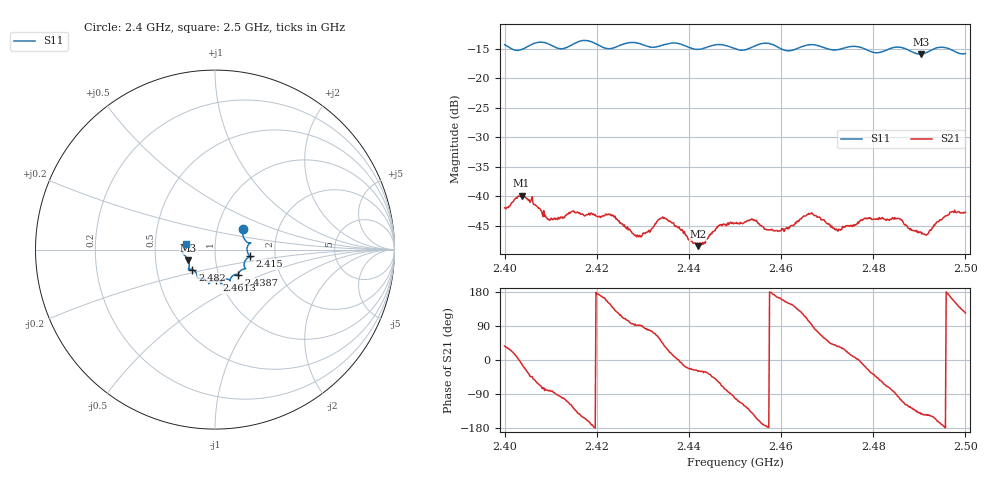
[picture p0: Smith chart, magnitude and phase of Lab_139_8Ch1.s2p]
# Hz S RI R 50
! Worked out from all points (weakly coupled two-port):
!   601 points, 2.4 GHz to 2.5 GHz, reference 50 ohm
!   highest |S21| = -39.90 dB at 2.4037 GHz (marker M1); lowest = -48.5 dB at 2.442 GHz (marker M2)
!   lowest |S11| = -15.9 dB at 2.4903 GHz (marker M3), VSWR 1.38, Z = 36.8 - j4.44 ohm
!   |S11| at or under -10 dB: start of sweep to end of sweep
!   S12 and S22 are empty: the file has one direction only
!   S11 on the Smith chart (normalised r, x): 2.4 GHz: 1.33, +0.31; 2.415 GHz: 1.47, -0.11; 2.4387 GHz: 1.24, -0.36; 2.4613 GHz: 0.96, -0.34; 2.482 GHz: 0.76, -0.17; 2.5 GHz: 0.72, +0.05
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2.4e9  0.1573 0.112  0.00641 0.00475  0 0  0 0
2.403667e9  0.1675 0.0529  0.00998 -0.00166  0 0  0 0
2.4095e9  0.1928 0.0349  0.000958 -0.00631  0 0  0 0
2.415e9  0.1928 -0.0357  -0.00461 -0.00592  0 0  0 0
2.416667e9  0.204 -0.0437  -0.00596 -0.00375  0 0  0 0
2.423167e9  0.1631 -0.0745  -0.0054 0.00416  0 0  0 0
2.429167e9  0.1666 -0.1069  -0.000187 0.00454  0 0  0 0
2.433333e9  0.1321 -0.1316  0.00312 0.00549  0 0  0 0
2.438667e9  0.1304 -0.1412  0.00495 -0.00108  0 0  0 0
2.442e9  0.0991 -0.1455  0.00326 -0.00189  0 0  0 0
2.4465e9  0.0843 -0.1744  0.00294 -0.00484  0 0  0 0
2.45e9  0.0686 -0.1647  -0.00116 -0.00577  0 0  0 0
2.454167e9  0.0342 -0.1842  -0.00525 -0.00345  0 0  0 0
2.456833e9  0.0385 -0.1949  -0.00519 -0.000487  0 0  0 0
2.461333e9  0.00794 -0.1711  -0.00478 0.00256  0 0  0 0
2.466667e9  -0.0347 -0.1901  -0.000397 0.00722  0 0  0 0
2.472333e9  -0.0701 -0.1607  0.00409 0.00295  0 0  0 0
2.482e9  -0.1259 -0.1118  0.0034 -0.00566  0 0  0 0
2.483333e9  -0.1396 -0.1089  0.00195 -0.00601  0 0  0 0
2.490333e9  -0.1492 -0.0588  -0.00393 -0.00303  0 0  0 0
2.497167e9  -0.1729 -0.0094  -0.00701 0.00248  0 0  0 0
2.5e9  -0.159 0.0328  -0.00409 0.00607  0 0  0 0
